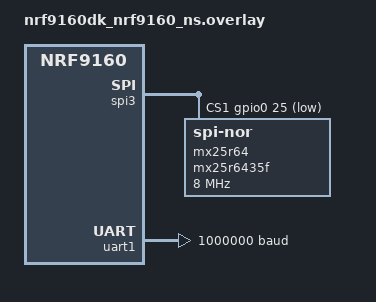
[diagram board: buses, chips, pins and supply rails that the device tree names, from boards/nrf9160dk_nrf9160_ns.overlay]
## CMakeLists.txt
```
#
# Copyright (c) 2022 Nordic Semiconductor
#
# SPDX-License-Identifier: LicenseRef-Nordic-5-Clause
#

cmake_minimum_required(VERSION 3.20.0)

find_package(Zephyr REQUIRED HINTS $ENV{ZEPHYR_BASE})
project(modem_trace_flash)

target_sources(app PRIVATE src/main.c)
```

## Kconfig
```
#
# Copyright (c) 2022 Nordic Semiconductor
#
# SPDX-License-Identifier: LicenseRef-Nordic-5-Clause
#

menu "Modem trace flash backend sample"

endmenu

module = MODEM_TRACE_FLASH_SAMPLE
module-str = Modem trace flash backend
source "${ZEPHYR_BASE}/subsys/logging/Kconfig.template.log_config"

menu "Zephyr Kernel"
source "Kconfig.zephyr"
endmenu
```

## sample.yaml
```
sample:
  name: Modem trace flash
tests:
  sample.cellular.modem_trace_flash:
    sysbuild: true
    build_only: true
    integration_platforms:
      - nrf9151dk/nrf9151/ns
      - nrf9160dk/nrf9160/ns
      - nrf9161dk/nrf9161/ns
    platform_allow:
      - nrf9151dk/nrf9151/ns
      - nrf9160dk/nrf9160/ns
      - nrf9161dk/nrf9161/ns
    tags:
      - ci_build
      - sysbuild
      - ci_samples_cellular
```

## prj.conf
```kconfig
#
# Copyright (c) 2022 Nordic Semiconductor ASA
#
# SPDX-License-Identifier: LicenseRef-Nordic-5-Clause
#

# Allow the application to reboot
CONFIG_REBOOT=y

# Logging
CONFIG_LOG=y
CONFIG_MODEM_TRACE_FLASH_SAMPLE_LOG_LEVEL_DBG=y
CONFIG_MODEM_TRACE_BACKEND_LOG_LEVEL_DBG=y

#CONFIG_NRF_MODEM_LIB_TRACE_BITRATE_LOG=y
#CONFIG_NRF_MODEM_LIB_TRACE_BACKEND_BITRATE_LOG=y

# Modem library
CONFIG_NRF_MODEM_LIB=y

# LTE link control
CONFIG_LTE_LINK_CONTROL=y

# Modem trace
CONFIG_NRF_MODEM_LIB_TRACE=y
CONFIG_NRF_MODEM_LIB_TRACE_BACKEND_FLASH=y

# Flash config
CONFIG_FCB=y
CONFIG_FLASH=y
CONFIG_FLASH_MAP=y

CONFIG_NRF_MODEM_TRACE_FLASH_NOSPACE_SIGNAL=y

# Heap and stacks
CONFIG_HEAP_MEM_POOL_SIZE=2048
CONFIG_MAIN_STACK_SIZE=4096
CONFIG_SYSTEM_WORKQUEUE_STACK_SIZE=4096
CONFIG_NRF_MODEM_LIB_TRACE_STACK_SIZE=4096

# GPIO
CONFIG_GPIO=y

# Library for buttons and LEDs
CONFIG_DK_LIBRARY=y

# UART
CONFIG_SERIAL=y
```

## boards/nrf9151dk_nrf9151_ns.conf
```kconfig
#
# Copyright (c) 2024 Nordic Semiconductor ASA
#
# SPDX-License-Identifier: LicenseRef-Nordic-5-Clause
#

CONFIG_SPI=y
CONFIG_SPI_NOR=y
CONFIG_SPI_NOR_SFDP_DEVICETREE=y

CONFIG_PM_OVERRIDE_EXTERNAL_DRIVER_CHECK=y

# Reduce flash partition size to reduce erase time and flash usage.
CONFIG_NRF_MODEM_LIB_TRACE_BACKEND_FLASH_PARTITION_SIZE=0x100000
```

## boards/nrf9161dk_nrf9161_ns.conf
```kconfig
#
# Copyright (c) 2022 Nordic Semiconductor ASA
#
# SPDX-License-Identifier: LicenseRef-Nordic-5-Clause
#

CONFIG_SPI=y
CONFIG_SPI_NOR=y
CONFIG_SPI_NOR_SFDP_DEVICETREE=y

CONFIG_PM_OVERRIDE_EXTERNAL_DRIVER_CHECK=y

# Reduce flash partition size to reduce erase time and flash usage.
CONFIG_NRF_MODEM_LIB_TRACE_BACKEND_FLASH_PARTITION_SIZE=0x100000
```

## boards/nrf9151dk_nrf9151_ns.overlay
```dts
/*
 * Copyright (c) 2024 Nordic Semiconductor ASA
 *
 * SPDX-License-Identifier: LicenseRef-Nordic-5-Clause
 */


/* Enable high drive mode for the SPI3 pins to get a square signal at 8 MHz */
&spi3_default {
	group1 {
		nordic,drive-mode = <NRF_DRIVE_H0H1>;
	};
};

/* Enable UART1 at 1 megabaud for printing modem traces  */
&uart1 {
	status = "okay";
	current-speed = <1000000>;
};

/ {
	aliases {
		ext-flash = &gd25wb256;
	};

	/* Configure partition manager to use gd25wb256 as the external flash */
	chosen {
		nordic,pm-ext-flash = &gd25wb256;
	};
};

&gd25wb256 {
	status = "okay";
};
```

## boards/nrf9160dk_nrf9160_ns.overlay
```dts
/*
 * Copyright (c) 2022 Nordic Semiconductor ASA
 *
 * SPDX-License-Identifier: LicenseRef-Nordic-5-Clause
 */

 /* The mx25r64 definition would normally be included when specifying a nrf9160dk_nrf9160_ns
  * board revision >= 0.14.0, but unfortunately twister has a bug that prevents the revision
  * overlay to get loaded when testing the sample. */
&spi3 {
	cs-gpios = <&arduino_header 16 GPIO_ACTIVE_LOW>, /* D10 */
		   <&gpio0 25 GPIO_ACTIVE_LOW>;
	mx25r64: mx25r6435f@1 {
		compatible = "jedec,spi-nor";
		reg = <1>;
		status = "okay";
		spi-max-frequency = <8000000>;
		jedec-id = [c2 28 17];
		sfdp-bfp = [
			e5 20 f1 ff  ff ff ff 03  44 eb 08 6b  08 3b 04 bb
			ee ff ff ff  ff ff 00 ff  ff ff 00 ff  0c 20 0f 52
			10 d8 00 ff  23 72 f5 00  82 ed 04 cc  44 83 68 44
			30 b0 30 b0  f7 c4 d5 5c  00 be 29 ff  f0 d0 ff ff
		];
		size = <67108864>;
		mxicy,mx25r-power-mode = "high-performance";
	};
};

/* Enable UART1 at 1 megabaud for printing modem traces  */
&uart1 {
	status = "okay";
	current-speed = <1000000>;
};

/ {
	aliases {
		ext-flash = &mx25r64;
	};

	/* Configure partition manager to use mx25r64 as the external flash */
	chosen {
		nordic,pm-ext-flash = &mx25r64;
	};
};
```

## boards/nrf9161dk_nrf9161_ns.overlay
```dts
/*
 * Copyright (c) 2022 Nordic Semiconductor ASA
 *
 * SPDX-License-Identifier: LicenseRef-Nordic-5-Clause
 */


/* Enable high drive mode for the SPI3 pins to get a square signal at 8 MHz */
&spi3_default {
	group1 {
		nordic,drive-mode = <NRF_DRIVE_H0H1>;
	};
};

/* Enable UART1 at 1 megabaud for printing modem traces  */
&uart1 {
	status = "okay";
	current-speed = <1000000>;
};

/ {
	aliases {
		ext-flash = &gd25wb256;
	};

	/* Configure partition manager to use gd25wb256 as the external flash */
	chosen {
		nordic,pm-ext-flash = &gd25wb256;
	};
};

&gd25wb256 {
	status = "okay";
};
```

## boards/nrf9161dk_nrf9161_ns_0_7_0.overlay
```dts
/*
 * Copyright (c) 2022 Nordic Semiconductor ASA
 *
 * SPDX-License-Identifier: LicenseRef-Nordic-5-Clause
 */

/delete-node/ &gd25wb256;

/ {
	chosen {
		nordic,pm-ext-flash = &gd25lb256;
	};

	aliases {
		ext-flash = &gd25lb256;
	};
};

&gd25lb256 {
	status = "okay";
};

/* Enable UART1 at 1 megabaud for printing modem traces  */
&uart1 {
	status = "okay";
	current-speed = <1000000>;
};
```

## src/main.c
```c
/*
 * Copyright (c) 2022 Nordic Semiconductor ASA
 *
 * SPDX-License-Identifier: LicenseRef-Nordic-5-Clause
 */

#include <zephyr/kernel.h>
#include <zephyr/logging/log.h>
#include <zephyr/device.h>
#include <zephyr/drivers/uart.h>
#include <modem/lte_lc.h>
#include <modem/nrf_modem_lib.h>
#include <modem/nrf_modem_lib_trace.h>
#include <nrf_modem.h>
#include <nrf_modem_at.h>
#include <dk_buttons_and_leds.h>

#include <zephyr/sys/reboot.h>

LOG_MODULE_REGISTER(modem_trace_flash_sample, CONFIG_MODEM_TRACE_FLASH_SAMPLE_LOG_LEVEL);

#define UART1_DT_NODE DT_NODELABEL(uart1)

#define READ_BUF_SIZE CONFIG_NRF_MODEM_LIB_TRACE_BACKEND_FLASH_BUF_SIZE

static const struct device *const uart_dev = DEVICE_DT_GET(UART1_DT_NODE);

NRF_MODEM_LIB_ON_CFUN(cfun_hook, on_cfun, NULL);

/* Callback for when modem functional mode is changed */
static void on_cfun(int mode, void *context)
{
	LOG_INF("LTE mode changed to %d\n", mode);
}

static void print_uart1(char *buf, int len)
{
	if (!device_is_ready(uart_dev)) {
		LOG_ERR("uart1 device not found/ready!");
		return;
	}
	for (int i = 0; i < len; i++) {
		uart_poll_out(uart_dev, buf[i]);
	}
}

static void print_traces(void)
{
	uint8_t read_buf[READ_BUF_SIZE];
	int ret;
	size_t read_offset = 0;

	ret = nrf_modem_lib_trace_data_size();
	printk("Reading out %d bytes of trace data\n", ret);

	/* Read out the trace data from flash */
	while (ret > 0) {
		ret = nrf_modem_lib_trace_read(read_buf, READ_BUF_SIZE);
		if (ret < 0) {
			if (ret == -ENODATA) {
				break;
			}
			LOG_ERR("Error reading modem traces: %d", ret);
			break;
		}
		if (ret == 0) {
			LOG_DBG("No more traces to read from flash");
			break;
		}

		read_offset += ret;
		print_uart1(read_buf, ret);
	}
	LOG_INF("Total trace bytes read from flash: %d", read_offset);
}

static void button_handler(uint32_t button_states, uint32_t has_changed)
{
	if (has_changed & button_states & DK_BTN1_MSK) {
		printk("Button 1 pressed - dumping traces to uart1\n");
		print_traces();
	}

	if (has_changed & button_states & DK_BTN2_MSK) {
		printk("Button 2 pressed - restarting application\n");
		sys_reboot(SYS_REBOOT_WARM);
	}
}

void nrf_modem_lib_trace_callback(enum nrf_modem_lib_trace_event evt)
{
	switch (evt) {
	case NRF_MODEM_LIB_TRACE_EVT_FULL:
		printk("Modem trace backend is full\n");
		break;
	default:
		printk("Received trace callback %d\n", evt);
		break;
	}
}

int main(void)
{
	int err;

	LOG_INF("Modem trace backend sample started\n");

	err = dk_buttons_init(button_handler);
	if (err) {
		LOG_ERR("Failed to initialize DK buttons library, error: %d\n", err);
	}

	if (!device_is_ready(uart_dev)) {
		LOG_ERR("uart1 device not found/ready!");
	}

	nrf_modem_lib_init();

	err = nrf_modem_lib_trace_level_set(NRF_MODEM_LIB_TRACE_LEVEL_FULL);
	if (err) {
		LOG_ERR("Failed to enable modem traces");
	}

	LOG_INF("Connecting to network\n");

	err = lte_lc_func_mode_set(LTE_LC_FUNC_MODE_NORMAL);
	if (err) {
		LOG_ERR("Failed to change LTE mode, err %d\n", err);
		return 0;
	}

	/* Leave the modem on for 10 seconds */
	k_sleep(K_SECONDS(10));

	err = lte_lc_func_mode_set(LTE_LC_FUNC_MODE_POWER_OFF);
	if (err) {
		LOG_ERR("Failed to change LTE mode, err %d\n", err);
		return 0;
	}

	/* Give the modem some time to turn off and receive traces */
	k_sleep(K_SECONDS(5));

	err = nrf_modem_lib_trace_level_set(NRF_MODEM_LIB_TRACE_LEVEL_OFF);
	if (err) {
		LOG_ERR("Failed to turn off modem traces\n");
	} else {
		LOG_INF("Turned off modem traces\n");
	}

	/* Changing the trace level to off will produce some traces, so sleep long enough to
	 * receive those as well.
	 */
	k_sleep(K_SECONDS(1));

	LOG_INF("Press button 1 to print traces to UART");
	LOG_INF("Press button 2 to restart application (warm boot)");

	return 0;
}
```
